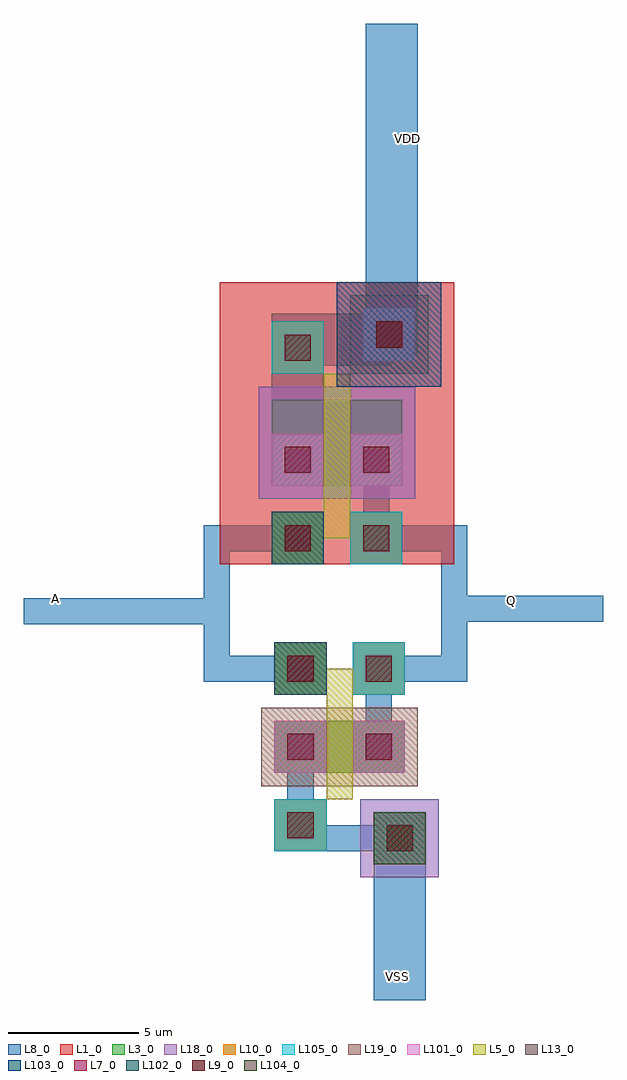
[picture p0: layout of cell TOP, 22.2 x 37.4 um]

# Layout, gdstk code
import gdstk
lib = gdstk.Library(unit=1e-6, precision=1e-07)
def R(c, l, rs):  # rectangles x0, y0, x1, y1
    for r in rs: c.add(gdstk.rectangle(r[:2], r[2:], *l))
L1_0 = (1, 0)
L3_0 = (3, 0)
L5_0 = (5, 0)
L7_0 = (7, 0)
L8_0 = (8, 0)
L9_0 = (9, 0)
L10_0 = (10, 0)
L13_0 = (13, 0)
L18_0 = (18, 0)
L19_0 = (19, 0)
L101_0 = (101, 0)
L102_0 = (102, 0)
L103_0 = (103, 0)
L104_0 = (104, 0)
L105_0 = (105, 0)

dcont = lib.new_cell('dcont')
R(dcont, L3_0, [(-1,-1,1,1)])
R(dcont, L7_0, [(-0.5,-0.5,0.5,0.5)])
R(dcont, L8_0, [(-1,-1,1,1)])
R(dcont, L13_0, [(-0.5,-0.5,0.5,0.5)])
R(dcont, L101_0, [(-1,-1,1,1)])

pcont = lib.new_cell('pcont')
R(pcont, L5_0, [(-1,-1,1,1)])
R(pcont, L7_0, [(-0.5,-0.5,0.5,0.5)])
R(pcont, L8_0, [(-1,-1,1,1)])
R(pcont, L13_0, [(-0.5,-0.5,0.5,0.5)])
R(pcont, L102_0, [(-1,-1,1,1)])

via = lib.new_cell('Via')
R(via, L8_0, [(-1,-1,1,1)])
R(via, L9_0, [(-0.5,-0.5,0.5,0.5)])
R(via, L10_0, [(-1,-1,1,1)])
R(via, L13_0, [(-0.5,-0.5,0.5,0.5)])
R(via, L105_0, [(-1,-1,1,1)])

dcont1 = lib.new_cell('dcont1')
R(dcont1, L3_0, [(-1,-1,1,1)])
R(dcont1, L7_0, [(-0.5,-0.5,0.5,0.5)])
R(dcont1, L8_0, [(-1,-1,1,1)])
R(dcont1, L13_0, [(-0.5,-0.5,0.5,0.5)])
R(dcont1, L101_0, [(-1,-1,1,1)])

nsubcont = lib.new_cell('nsubcont')
R(nsubcont, L1_0, [(-2,-2,2,2)])
R(nsubcont, L19_0, [(-1.5,-1.5,1.5,1.5)])
R(nsubcont, L103_0, [(-2,-2,2,2)])
nsubcont.add(gdstk.Reference(dcont1, (0,0)))

pch_1 = lib.new_cell('Pch$1')
R(pch_1, L1_0, [(-2,0,7,10.8)])
R(pch_1, L3_0, [(0,3,5,6.3)])
R(pch_1, L18_0, [(-0.5,2.5,5.5,6.8)])
pch_1.add(gdstk.FlexPath([(1,3),(1,6.3)], 2, ends="flush", simple_path=True, layer=8, datatype=0))  # L8_0
pch_1.add(gdstk.FlexPath([(4,3),(4,6.3)], 2, ends="flush", simple_path=True, layer=8, datatype=0))  # L8_0
pch_1.add(gdstk.FlexPath([(1,5.3),(1,8.3)], 1, ends="flush", simple_path=True, layer=8, datatype=0))  # L8_0
pch_1.add(gdstk.FlexPath([(4,1),(4,4)], 1, ends="flush", simple_path=True, layer=8, datatype=0))  # L8_0
pch_1.add(gdstk.FlexPath([(2.5,3),(2.5,6.3)], 1, ends=(1, 1), simple_path=True, layer=5, datatype=0))  # L5_0
pch_1.add(gdstk.FlexPath([(1,1.5),(2.5,1.5),(2.5,2)], 1, ends="flush", simple_path=True, layer=5, datatype=0))  # L5_0
pch_1.add(gdstk.Reference(dcont, (1,4)))
pch_1.add(gdstk.Reference(dcont, (4,4)))
pch_1.add(gdstk.Reference(pcont, (1,1)))
pch_1.add(gdstk.Reference(via, (1,1)))
pch_1.add(gdstk.Reference(via, (1,8.3)))
pch_1.add(gdstk.Reference(via, (4,1)))
pch_1.add(gdstk.Reference(nsubcont, (4.5,8.8)))
pch_1.add(gdstk.Reference(via, (4.5,8.8)))

psubcont = lib.new_cell('psubcont')
R(psubcont, L18_0, [(-1.5,-1.5,1.5,1.5)])
R(psubcont, L104_0, [(-1,-1,1,1)])
psubcont.add(gdstk.Reference(dcont1, (0,0)))

nch_1 = lib.new_cell('Nch$1')
R(nch_1, L3_0, [(0,3,5,5)])
R(nch_1, L19_0, [(-0.5,2.5,5.5,5.5)])
nch_1.add(gdstk.FlexPath([(1,3),(1,5)], 2, ends="flush", simple_path=True, layer=8, datatype=0))  # L8_0
nch_1.add(gdstk.FlexPath([(4,3),(4,5)], 2, ends="flush", simple_path=True, layer=8, datatype=0))  # L8_0
nch_1.add(gdstk.FlexPath([(1,1),(1,4)], 1, ends="flush", simple_path=True, layer=8, datatype=0))  # L8_0
nch_1.add(gdstk.FlexPath([(4,4),(4,7)], 1, ends="flush", simple_path=True, layer=8, datatype=0))  # L8_0
nch_1.add(gdstk.FlexPath([(2.5,3),(2.5,5)], 1, ends=(1, 1), simple_path=True, layer=5, datatype=0))  # L5_0
nch_1.add(gdstk.FlexPath([(1,6.5),(2.5,6.5),(2.5,6)], 1, ends="flush", simple_path=True, layer=5, datatype=0))  # L5_0
nch_1.add(gdstk.Reference(dcont, (1,4)))
nch_1.add(gdstk.Reference(dcont, (4,4)))
nch_1.add(gdstk.Reference(pcont, (1,7)))
nch_1.add(gdstk.Reference(via, (1,7)))
nch_1.add(gdstk.Reference(via, (1,1)))
nch_1.add(gdstk.Reference(via, (4,7)))
nch_1.add(gdstk.Reference(psubcont, (4.8,0.5)))
nch_1.add(gdstk.Reference(via, (4.8,0.5)))

top = lib.new_cell('TOP')
top.add(gdstk.FlexPath([(-27,21.1),(-23.5,21.1),(-23.5,16.1),(-26.9,16.1)], 1, ends="flush", simple_path=True, layer=8, datatype=0))  # L8_0
top.add(gdstk.FlexPath([(-24,18.4),(-17.8,18.4)], 1, ends="flush", simple_path=True, layer=8, datatype=0))  # L8_0
top.add(gdstk.FlexPath([(-29,21.1),(-32.6,21.1),(-32.6,16.1),(-28.9,16.1)], 1, ends="flush", simple_path=True, layer=8, datatype=0))  # L8_0
top.add(gdstk.FlexPath([(-32.1,18.3),(-40,18.3)], 1, ends="flush", simple_path=True, layer=8, datatype=0))  # L8_0
top.add(gdstk.FlexPath([(-25.9,28.1),(-25.9,40.8)], 2, ends="flush", simple_path=True, layer=8, datatype=0))  # L8_0
top.add(gdstk.FlexPath([(-25.9,28.7),(-29.5,28.7),(-29.5,23.1)], 2, ends="flush", simple_path=True, layer=8, datatype=0))  # L8_0
top.add(gdstk.FlexPath([(-29.4,10.1),(-29.4,9.6),(-25.1,9.6)], 1, ends="flush", simple_path=True, layer=8, datatype=0))  # L8_0
top.add(gdstk.FlexPath([(-25.6,10.1),(-25.6,3.4)], 2, ends="flush", simple_path=True, layer=8, datatype=0))  # L8_0
top.add(gdstk.Reference(pch_1, (-30.5,20.1)))
top.add(gdstk.Reference(nch_1, (-30.4,9.1)))
top.add(gdstk.Label('VDD', (-25.3,36.4), layer=8, texttype=0))
top.add(gdstk.Label('Q', (-21.3,18.7), layer=8, texttype=0))
top.add(gdstk.Label('A', (-38.8,18.8), layer=8, texttype=0))
top.add(gdstk.Label('VSS', (-25.7,4.3), layer=8, texttype=0))

lib.write_gds('TOP.gds')
